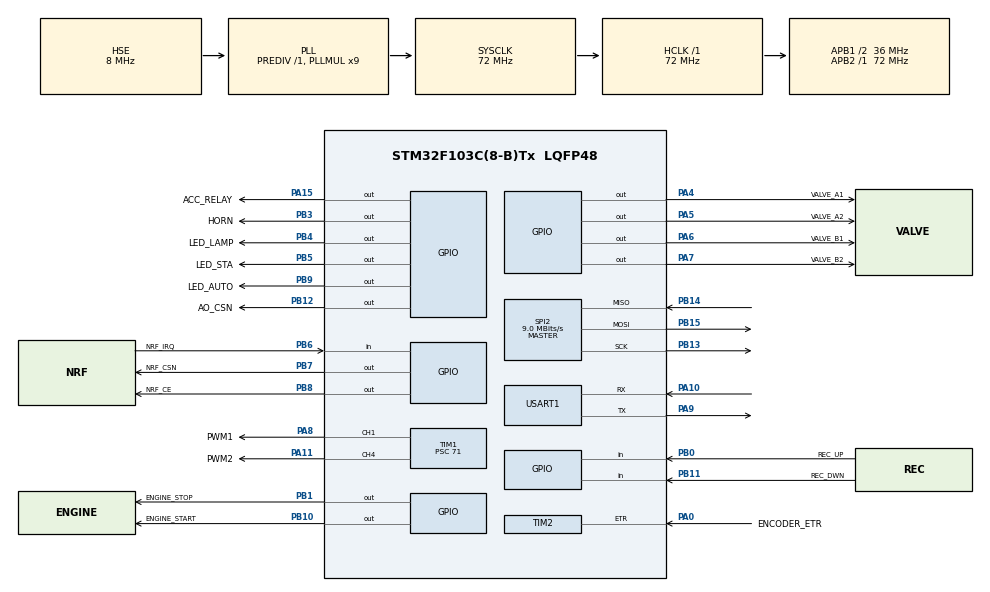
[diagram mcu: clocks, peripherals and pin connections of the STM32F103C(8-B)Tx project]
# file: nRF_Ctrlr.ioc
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Mcu.Family=STM32F1
Mcu.Name=STM32F103C(8-B)Tx
Mcu.Package=LQFP48
NVIC.PriorityGroup=NVIC_PRIORITYGROUP_4
PA0-WKUP.GPIO_Label=ENCODER_ETR
PA0-WKUP.GPIO_PuPd=GPIO_PULLUP
PA0-WKUP.Signal=S_TIM2_CH1_ETR
PA10.Mode=Asynchronous
PA10.Signal=USART1_RX
PA11.GPIO_Label=PWM2
PA11.GPIO_Speed=GPIO_SPEED_FREQ_HIGH
PA11.Signal=S_TIM1_CH4
PA13.Mode=Serial_Wire
PA13.Signal=SYS_JTMS-SWDIO
PA14.Mode=Serial_Wire
PA14.Signal=SYS_JTCK-SWCLK
PA15.GPIO_Label=ACC_RELAY
PA15.GPIO_Speed=GPIO_SPEED_FREQ_HIGH
PA15.PinState=GPIO_PIN_RESET
PA15.Signal=GPIO_Output
PA4.GPIO_Label=VALVE_A1
PA4.GPIO_Speed=GPIO_SPEED_FREQ_MEDIUM
PA4.PinState=GPIO_PIN_RESET
PA4.Signal=GPIO_Output
PA5.GPIO_Label=VALVE_A2
PA5.GPIO_Speed=GPIO_SPEED_FREQ_MEDIUM
PA5.PinState=GPIO_PIN_RESET
PA5.Signal=GPIO_Output
PA6.GPIO_Label=VALVE_B1
PA6.GPIO_Speed=GPIO_SPEED_FREQ_MEDIUM
PA6.PinState=GPIO_PIN_RESET
PA6.Signal=GPIO_Output
PA7.GPIO_Label=VALVE_B2
PA7.GPIO_Speed=GPIO_SPEED_FREQ_MEDIUM
PA7.PinState=GPIO_PIN_RESET
PA7.Signal=GPIO_Output
PA8.GPIO_Label=PWM1
PA8.GPIO_Speed=GPIO_SPEED_FREQ_HIGH
PA8.Signal=S_TIM1_CH1
PA9.Mode=Asynchronous
PA9.Signal=USART1_TX
PB0.GPIO_Label=REC_UP
PB0.GPIO_PuPd=GPIO_PULLUP
PB0.Signal=GPIO_Input
PB1.GPIO_Label=ENGINE_STOP
PB1.PinState=GPIO_PIN_RESET
PB1.Signal=GPIO_Output
PB10.GPIO_Label=ENGINE_START
PB10.PinState=GPIO_PIN_RESET
PB10.Signal=GPIO_Output
PB11.GPIO_Label=REC_DWN
PB11.GPIO_PuPd=GPIO_PULLUP
PB11.Signal=GPIO_Input
PB12.GPIO_Label=AO_CSN
PB12.GPIO_Speed=GPIO_SPEED_FREQ_HIGH
PB12.PinState=GPIO_PIN_SET
PB12.Signal=GPIO_Output
PB13.Mode=Full_Duplex_Master
PB13.Signal=SPI2_SCK
PB14.GPIO_PuPd=GPIO_PULLUP
PB14.Mode=Full_Duplex_Master
PB14.Signal=SPI2_MISO
PB15.Mode=Full_Duplex_Master
PB15.Signal=SPI2_MOSI
PB3.GPIO_Label=HORN
PB3.PinState=GPIO_PIN_RESET
PB3.Signal=GPIO_Output
PB4.GPIO_Label=LED_LAMP
PB4.PinState=GPIO_PIN_RESET
PB4.Signal=GPIO_Output
PB5.GPIO_Label=LED_STA
PB5.GPIO_Speed=GPIO_SPEED_FREQ_MEDIUM
PB5.PinState=GPIO_PIN_RESET
PB5.Signal=GPIO_Output
PB6.GPIO_Label=NRF_IRQ
PB6.GPIO_PuPd=GPIO_PULLUP
PB6.Signal=GPIO_Input
PB7.GPIO_Label=NRF_CSN
PB7.GPIO_Speed=GPIO_SPEED_FREQ_HIGH
PB7.PinState=GPIO_PIN_SET
PB7.Signal=GPIO_Output
PB8.GPIO_Label=NRF_CE
PB8.GPIO_Speed=GPIO_SPEED_FREQ_HIGH
PB8.PinState=GPIO_PIN_SET
PB8.Signal=GPIO_Output
PB9.GPIO_Label=LED_AUTO
PB9.GPIO_Speed=GPIO_SPEED_FREQ_MEDIUM
PB9.PinState=GPIO_PIN_RESET
PB9.Signal=GPIO_Output
PD0-OSC_IN.Mode=HSE-External-Oscillator
PD0-OSC_IN.Signal=RCC_OSC_IN
PD1-OSC_OUT.Mode=HSE-External-Oscillator
PD1-OSC_OUT.Signal=RCC_OSC_OUT
ProjectManager.HeapSize=0x800
ProjectManager.StackSize=0x800
ProjectManager.TargetToolchain=MDK-ARM V5
RCC.AHBFreq_Value=72000000
RCC.APB1CLKDivider=RCC_HCLK_DIV2
RCC.APB1Freq_Value=36000000
RCC.APB1TimFreq_Value=72000000
RCC.APB2Freq_Value=72000000
RCC.APB2TimFreq_Value=72000000
RCC.HCLKFreq_Value=72000000
RCC.PLLMUL=RCC_PLL_MUL9
RCC.PLLSourceVirtual=RCC_PLLSOURCE_HSE
RCC.SYSCLKFreq_VALUE=72000000
RCC.SYSCLKSource=RCC_SYSCLKSOURCE_PLLCLK
RCC.USBFreq_Value=72000000
SH.S_TIM1_CH1.0=TIM1_CH1,PWM Generation1 CH1
SH.S_TIM1_CH4.0=TIM1_CH4,PWM Generation4 CH4
SH.S_TIM2_CH1_ETR.0=TIM2_ETR,ClockSourceETR_Mode2
SPI2.BaudRatePrescaler=SPI_BAUDRATEPRESCALER_4
SPI2.CalculateBaudRate=9.0 MBits/s
SPI2.Direction=SPI_DIRECTION_2LINES
SPI2.Mode=SPI_MODE_MASTER
SPI2.VirtualType=VM_MASTER
TIM1.AutoReloadPreload=TIM_AUTORELOAD_PRELOAD_ENABLE
TIM1.Channel-PWM\ Generation1\ CH1=TIM_CHANNEL_1
TIM1.Channel-PWM\ Generation4\ CH4=TIM_CHANNEL_4
TIM1.Period=500
TIM1.Prescaler=71
TIM2.ClockFilter=4
TIM2.ClockPolarity=TIM_CLOCKPOLARITY_INVERTED
TIM2.Period=65535
USART1.VirtualMode=VM_ASYNC
VP_TIM1_VS_ClockSourceINT.Mode=Internal
board=nRF_Ctrlr

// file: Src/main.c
/**
  ******************************************************************************
  * @file           : main.c
  * @brief          : Main program body
  ******************************************************************************
  ** This notice applies to any and all portions of this file
  * that are not between comment pairs USER CODE BEGIN and
  * USER CODE END. Other portions of this file, whether
  * inserted by the user or by software development tools
  * are owned by their respective copyright owners.
  *
  * COPYRIGHT(c) 2018 STMicroelectronics
  *
  * Redistribution and use in source and binary forms, with or without modification,
  * are permitted provided that the following conditions are met:
  *   1. Redistributions of source code must retain the above copyright notice,
  *      this list of conditions and the following disclaimer.
  *   2. Redistributions in binary form must reproduce the above copyright notice,
  *      this list of conditions and the following disclaimer in the documentation
  *      and/or other materials provided with the distribution.
  *   3. Neither the name of STMicroelectronics nor the names of its contributors
  *      may be used to endorse or promote products derived from this software
  *      without specific prior written permission.
  *
  * THIS SOFTWARE IS PROVIDED BY THE COPYRIGHT HOLDERS AND CONTRIBUTORS "AS IS"
  * AND ANY EXPRESS OR IMPLIED WARRANTIES, INCLUDING, BUT NOT LIMITED TO, THE
  * IMPLIED WARRANTIES OF MERCHANTABILITY AND FITNESS FOR A PARTICULAR PURPOSE ARE
  * DISCLAIMED. IN NO EVENT SHALL THE COPYRIGHT HOLDER OR CONTRIBUTORS BE LIABLE
  * FOR ANY DIRECT, INDIRECT, INCIDENTAL, SPECIAL, EXEMPLARY, OR CONSEQUENTIAL
  * DAMAGES (INCLUDING, BUT NOT LIMITED TO, PROCUREMENT OF SUBSTITUTE GOODS OR
  * SERVICES; LOSS OF USE, DATA, OR PROFITS; OR BUSINESS INTERRUPTION) HOWEVER
  * CAUSED AND ON ANY THEORY OF LIABILITY, WHETHER IN CONTRACT, STRICT LIABILITY,
  * OR TORT (INCLUDING NEGLIGENCE OR OTHERWISE) ARISING IN ANY WAY OUT OF THE USE
  * OF THIS SOFTWARE, EVEN IF ADVISED OF THE POSSIBILITY OF SUCH DAMAGE.
  *
  ******************************************************************************
  */
#include "main.h"
#include "stm32f1xx_hal.h"
#include "spi.h"
#include "tim.h"
#include "usart.h"
#include "gpio.h"

/* USER CODE BEGIN Includes */
#include <stdlib.h>     // for abs()
#include <string.h>
#include "nrf24l01.h"
#include "controller.h"
/* USER CODE END Includes */

/* USER CODE BEGIN PV */
/* Private variables ---------------------------------------------------------*/
uint8_t     receive_value[6];           // 存放无线接收值
uint8_t     reset_flag = 1;             // 复位标志
uint8_t     REC_flag = 0;               // 学习标志
uint8_t     rcv_not_ok = 0;             // 无线接收失败标志
volatile u8_Bits_t  DIO_byte;           // 表示数字端口状态的字节
volatile uint8_t    r_index = 0;
uint8_t     up_len = 0, dwn_len = 0;    // 上升、下降学习记录长度

uint16_t    count=0;
uint16_t    trans_value = 0;            // 接收AD转换值
uint16_t    enc_current = 0;      // 缓存当前编码器值

run_state_t  ctrlr_State = S_Standby;
REC_data_t   up_rec[REC_LEN], dwn_rec[REC_LEN]; // 学习记录数组
volatile  LED_Status_t    LED_Status;   // 指示灯状态
volatile  error_status_t  s_error;
volatile  run_status_t    s_run;

/* USER CODE END PV */

void SystemClock_Config(void);

/* USER CODE BEGIN PFP */
/* Private function prototypes -----------------------------------------------*/
void LED_update(void);
/* USER CODE END PFP */

int main(void)
{

  /* MCU Configuration----------------------------------------------------------*/

  /* Reset of all peripherals, Initializes the Flash interface and the Systick. */
  HAL_Init();

  /* Configure the system clock */
  SystemClock_Config();

  /* Initialize all configured peripherals */
  MX_GPIO_Init();
  MX_SPI2_Init();
  MX_USART1_UART_Init();
  MX_TIM1_Init();
  MX_TIM2_Init();
  /* USER CODE BEGIN 2 */
  VALVE_A_Off();
  VALVE_B_Off();
  LED_LAMP_Off();
  LED_STA_Off();
  LED_AUTO_Off();
  HORN_Off();
  ACC_RELAY_Off();
  ENGINE_STOP_Reset();
  ENGINE_START_Reset();

  PWM_Init();
  check_nrf();
  HAL_TIM_Base_Start(&htim2);
  ENCODER_CNT_Set(0);
  reset_flag = 1;

  #if UART_DEBUG
  printf("\033[1;1H");
  printf("CTRLRSYS V1.0 (C) 2018       WANGFENG STUDIO\r\n");
  printf("~~~~~~~~~~~~~~~~~~~~~~~~~~~~~~~~~~~~~~~~~~~~\r\n");
  printf("nRF check and receive OK? ... CHK-XX  RCV-XX\r\n");
  printf("Record OK? ............ UP-XX  DN-XX  ALL-XX\r\n");
  printf("Switch initialize OK?.................... XX\r\n");
  printf("Received data............ DIO-0x00  ADC-0000\r\n");
  printf("System STATE ................... XXXXXXXXXXX\r\n");
  printf("____________________________________________\r\n");
  printf("index  adc     enc     enc_c     PWM   ACC  \r\n");
  printf("--------------------------------------------\r\n");
  printf("                                            \r\n");
  printf("____________________________________________\r\n");
  #endif

  /* USER CODE END 2 */

  /* Infinite loop */
  /* USER CODE BEGIN WHILE */
  while (1)
  {

   if(count==0)
    rcv_not_ok = rcv_nrf_data();     // 接收遥控器数据
   count++;
   if(count >= 20)
       count = 0;

    digit_state_update();            // 喇叭、照明、发动机启停
    enc_current = ENCODER_CNT_VALUE;

    // 若急停按钮触发或上电复位 进入急停状态
    if(Is_EMER() || reset_flag == 1){
        ctrlr_State = S_Emerg;
    }
/////////////////////////////////////////////////////////////////////////////////////////
            switch(ctrlr_State){
                //////// 急停模式 /////////////////
                case S_Emerg:
                    #if UART_DEBUG
                    printf(PRNT_P_STAT);
                    printf(PRNT_FL_STR," EMERGENCY ");
                    #endif
                    // 进入状态
                      s_error.is_emergency = 1;

                      TIM1->CCR1 = 0;   // PWM 输出0
                      TIM1->CCR4 = 0;

                      VALVE_A_Off();    // 关闭阀 A 与 B
                      VALVE_B_Off();

                      analog_state_update(0);

                      reset_flag = 0;

                    // 切换
                      if(rcv_not_ok ==1 ||
                         (DIO_byte.Byte_Val & 0x3F)!=0 ||
                         trans_value > MIN_VALID){

                          s_error.switch_init_fail = 1;
                        #if UART_DEBUG
                        printf(PRNT_P_SW);
                        printf(PRNT_RD_STR,"NG");
                        #endif
                      }
                      else{
                        s_error.switch_init_fail = 0;
                        s_error.is_emergency = 0;
                        #if UART_DEBUG
                        printf(PRNT_P_SW);
                        printf(PRNT_GR_STR,"OK");
                        #endif
                        ctrlr_State = S_Standby;
                        }
                    break;

                //////// 待机模式 /////////////////
                case S_Standby:
                    #if UART_DEBUG
                    printf(PRNT_P_STAT);
                    printf("  STANDBY  ");
                    #endif
                    // 进入状态
                    s_run.sys_autorun = 0;

                    analog_state_update(0);              // 关闭比例阀 AB阀 AO怠速
                    ENCODER_CNT_Set(0); // 编码器计数清零
                    r_index = 1;
                    // 判断比较上下学习结果 成功则 REC_flag |= 0x04
                    if(REC_flag == 0x03){
                        int16_t rslt = up_rec[up_len].enc_cnt - dwn_rec[dwn_len].enc_cnt;
                        if(abs(rslt) <= REC_POS_TLR){
                            REC_flag |= 0x24; // 置位学习成功标志，并禁止先自动下降
                            s_run.rec_success = 1;

                            #if UART_DEBUG
                            printf(PRNT_P_ALL);
                            printf(PRNT_GR_STR,"OK");
                            #endif
                        }
                        else if((REC_flag & 0x04)!=0x04){
                            REC_flag &= 0xFB;
                            s_run.rec_success = 0;

                            #if UART_DEBUG
                            printf(PRNT_P_ALL);
                            printf(PRNT_RD_STR,"NG");
                            #endif
                        }else
                        s_run.rec_success = 0;
                    }
                    // 切换
                    if(Is_HOPPER_UP() && !Is_AUTORUN()){
                        if(Is_REC_UP()){
                            memset(&up_rec,0,sizeof(REC_data_t)*REC_LEN);

                        }
                        ctrlr_State = S_Manual_Up;
                    }
                    else
                        if(Is_HOPPER_DOWN() && !Is_AUTORUN()){
                            if(Is_REC_DWN()){
                                memset(&dwn_rec,0,sizeof(REC_data_t)*REC_LEN);

                            }
                            ctrlr_State = S_Manual_Down;
                        }
                    else
                        if(Is_HOPPER_UP() && Is_AUTORUN() && (REC_flag&0x07) == 0x07 &&
                            (REC_flag & 0x10) == 0){
                                ctrlr_State = S_Auto_Up;
                                s_run.rec_success = 0; // 清除学习成功状态灯
                            }
                    else
                        if(Is_HOPPER_DOWN() && Is_AUTORUN() && (REC_flag&0x07) == 0x07 &&
                            (REC_flag & 0x20) == 0){
                                ctrlr_State = S_Auto_Down;
                                s_run.rec_success = 0; // 清除学习成功状态灯
                            }
                    break;
                /////// 手动上升 /////////////////
                case S_Manual_Up:
                    #if UART_DEBUG
                    printf(PRNT_P_STAT);
                    printf("MNUL-UP    ");
                    #endif
                    // 进入状态
                    s_run.sys_manual = 1;
                    if(Is_REC_UP()){
                        s_run.sys_under_rec = 1;
                        #if UART_DEBUG
                        printf(PRNT_P_REC);
                        printf("-REC");
                        #endif
                        int16_t i_rslt = enc_current- up_rec[r_index-1].enc_cnt; // 有符号
                        if(i_rslt >= REC_STEP){
                            up_rec[r_index].adc_data = trans_value;   // 记录给定值
                            up_rec[r_index].enc_cnt  = enc_current;       // 记录编码器值
                            r_index += 1;
                            if(r_index > REC_LEN) r_index = 0;
                        }
                        #if UART_DEBUG
                        printf(PRNT_P_IDX);
                        //printf("\033[nB");        光标下移n行
                        printf(" %03d   %04d    %05d   %05d",r_index,up_rec[r_index-1].adc_data,up_rec[r_index-1].enc_cnt,ENC_VAL);
                        #endif
                    }
                    else
                        s_run.sys_under_rec = 0;

                    analog_state_update(trans_value);
                    // 切换
                    if(!Is_HOPPER_UP()){
                        // 判断是否学习成功
                        if(r_index>=3 &&
                           up_rec[r_index].enc_cnt == 0 &&
                           up_rec[0].enc_cnt == 0 &&
                           rec_increment_check(up_rec, r_index-1) == 1){
                               up_rec[0].adc_data = (up_rec[1].adc_data < ADC_START_VAL) ? up_rec[1].adc_data : ADC_START_VAL;
                               up_rec[r_index-1].adc_data = (up_rec[r_index-2].adc_data < ADC_STOP_VAL) ? up_rec[r_index-2].adc_data : ADC_STOP_VAL;
                               up_rec[r_index].adc_data = up_rec[r_index-1].adc_data;
                               up_rec[r_index].enc_cnt = ENC_VAL;
                               up_len = r_index;
                               REC_flag |= 0x01;

                               #if UART_DEBUG
                               printf(PRNT_P_UP);
                               printf(PRNT_GR_STR,"OK");
                               #endif
                          }else{
                            REC_flag &= 0xFE;

                            #if UART_DEBUG
                            printf(PRNT_P_UP);
                            printf(PRNT_RD_STR,"NG");
                            #endif
                        }
                        VALVE_A_Off();
                        ctrlr_State = S_Standby;
                        s_run.sys_manual = 0;
                    }
                    break;
                /////// 手动下降 /////////////////
                case S_Manual_Down:
                    #if UART_DEBUG
                    printf(PRNT_P_STAT);
                    printf("MNUL-DN    ");
                    #endif
                    // 进入状态
                    s_run.sys_manual = 1;
                    if(Is_REC_DWN()){
                        s_run.sys_under_rec = 1;
                        #if UART_DEBUG
                        printf(PRNT_P_REC);
                        printf("-REC");
                        #endif
                        int16_t i_rslt = enc_current- dwn_rec[r_index-1].enc_cnt; // 有符号
                        if(i_rslt >= REC_STEP){
                            dwn_rec[r_index].adc_data = trans_value;   // 记录给定值
                            dwn_rec[r_index].enc_cnt  = enc_current;       // 记录编码器值
                            r_index += 1;
                            if(r_index > REC_LEN) r_index = 0;
                        }
                        #if UART_DEBUG
                        printf(PRNT_P_IDX);
                        //printf("\033[nB");        光标下移n行
                        printf(" %03d   %04d    %05d   %05d",r_index,dwn_rec[r_index-1].adc_data,dwn_rec[r_index-1].enc_cnt,ENC_VAL);
                        #endif
                    }
                    else
                        s_run.sys_under_rec = 0;

                    analog_state_update(trans_value);

                    // 切换
                    if(!Is_HOPPER_DOWN()){
                        // 判断是否学习成功
                        if(r_index>=3 &&
                           dwn_rec[r_index].enc_cnt == 0 &&
                           dwn_rec[0].enc_cnt == 0 &&
                           rec_increment_check(dwn_rec, r_index-1) == 1){
                               dwn_rec[0].adc_data = (dwn_rec[1].adc_data < ADC_START_VAL) ? dwn_rec[1].adc_data : ADC_START_VAL;
                               dwn_rec[r_index-1].adc_data = (dwn_rec[r_index-2].adc_data < ADC_STOP_VAL) ? dwn_rec[r_index-2].adc_data : ADC_STOP_VAL;
                               dwn_rec[r_index].adc_data = dwn_rec[r_index-1].adc_data;
                               dwn_rec[r_index].enc_cnt = ENC_VAL;
                               dwn_len = r_index;
                               REC_flag |= 0x02;
                               #if UART_DEBUG
                               printf(PRNT_P_DN);
                               printf(PRNT_GR_STR,"OK");
                               #endif
                          }else{
                            REC_flag &= 0xFD;

                            #if UART_DEBUG
                            printf(PRNT_P_DN);
                            printf(PRNT_RD_STR,"NG");
                            #endif
                        }
                        VALVE_B_Off();
                        ctrlr_State = S_Standby;
                        s_run.sys_manual = 0;
                    }
                    break;
                /////// 自动上升 /////////////////
                case S_Auto_Up:
                    #if UART_DEBUG
                    printf(PRNT_P_STAT);
                    printf("  AUTO-UP  ");
                    #endif
                    // 进入状态
                    s_run.sys_autorun = 1;
                    if(enc_current >= up_rec[r_index-1].enc_cnt &&
                       enc_current <  up_rec[r_index].enc_cnt){

                        int16_t delta_ana = up_rec[r_index].adc_data - up_rec[r_index-1].adc_data;
                        int16_t delta_enc = up_rec[r_index].enc_cnt - up_rec[r_index-1].enc_cnt;
                        uint16_t ana_rslt = (enc_current-up_rec[r_index].enc_cnt)*delta_ana/delta_enc + up_rec[r_index-1].adc_data;
                        analog_state_update(ana_rslt);

                        #if UART_DEBUG
                        printf(PRNT_P_IDX);
                        printf(" %03d   %04d    %05d   %05d", r_index, ana_rslt, enc_current, ENC_VAL);
                        #endif

                        if(r_index<REC_LEN && r_index<up_len)
                            r_index++;
                    }

                    // 停止
                    if(enc_current >= up_rec[up_len].enc_cnt  ||
                       r_index > up_len){

                        analog_state_update(0);
                    }
                    // 切换
                    if(!Is_HOPPER_UP() || !Is_AUTORUN()){

                        REC_flag |= 0x10;
                        REC_flag &= 0xDF;
                        s_run.sys_autorun = 0;
                        VALVE_A_Off();
                        ctrlr_State = S_Standby;
                    }
                    break;
                /////// 自动下降 /////////////////
                case S_Auto_Down:
                    #if UART_DEBUG
                    printf(PRNT_P_STAT);
                    printf("  AUTO-DN  ");
                    #endif
                    // 进入状态
                    s_run.sys_autorun = 1;
                    if(enc_current >= dwn_rec[r_index-1].enc_cnt &&
                       enc_current <  dwn_rec[r_index].enc_cnt){

                        int16_t delta_ana = dwn_rec[r_index].adc_data - dwn_rec[r_index-1].adc_data;
                        int16_t delta_enc = dwn_rec[r_index].enc_cnt - dwn_rec[r_index-1].enc_cnt;
                        uint16_t ana_rslt = (enc_current-dwn_rec[r_index].enc_cnt)*delta_ana/delta_enc + dwn_rec[r_index-1].adc_data;
                        analog_state_update(ana_rslt);

                        #if UART_DEBUG
                        printf(PRNT_P_IDX);
                        printf(" %03d   %04d    %05d   %05d", r_index, ana_rslt, enc_current, ENC_VAL);
                        #endif

                        if(r_index<REC_LEN && r_index<dwn_len)
                            r_index++;
                    }

                    // 停止

                    if(enc_current >= dwn_rec[dwn_len].enc_cnt||
                       r_index > dwn_len ){

                       analog_state_update(0);
                    }
                    // 切换
                    if(!Is_HOPPER_DOWN() || !Is_AUTORUN()){

                        REC_flag |= 0x20;
                        REC_flag &= 0xEF;
                        s_run.sys_autorun = 0;
                        VALVE_B_Off();
                        ctrlr_State = S_Standby;
                    }
                    break;
                /////// 运行错误 /////////////////
                default:
                    #if UART_DEBUG
                    printf(PRNT_P_STAT);
                    printf("            ERROR");
                    #endif
                    ctrlr_State = S_Standby;
                    break;
            }
/////////////////////////////////////////////////////////////////////////////////////////

  /* USER CODE END WHILE */

  }

}

void SystemClock_Config(void)
{

  RCC_OscInitTypeDef RCC_OscInitStruct;
  RCC_ClkInitTypeDef RCC_ClkInitStruct;

    /**Initializes the CPU, AHB and APB busses clocks
    */
  RCC_OscInitStruct.OscillatorType = RCC_OSCILLATORTYPE_HSE;
  RCC_OscInitStruct.HSEState = RCC_HSE_ON;
  RCC_OscInitStruct.HSEPredivValue = RCC_HSE_PREDIV_DIV1;
  RCC_OscInitStruct.HSIState = RCC_HSI_ON;
  RCC_OscInitStruct.PLL.PLLState = RCC_PLL_ON;
  RCC_OscInitStruct.PLL.PLLSource = RCC_PLLSOURCE_HSE;
  RCC_OscInitStruct.PLL.PLLMUL = RCC_PLL_MUL9;
  if (HAL_RCC_OscConfig(&RCC_OscInitStruct) != HAL_OK)
  {
    _Error_Handler(__FILE__, __LINE__);
  }

    /**Initializes the CPU, AHB and APB busses clocks
    */
  RCC_ClkInitStruct.ClockType = RCC_CLOCKTYPE_HCLK|RCC_CLOCKTYPE_SYSCLK
                              |RCC_CLOCKTYPE_PCLK1|RCC_CLOCKTYPE_PCLK2;
  RCC_ClkInitStruct.SYSCLKSource = RCC_SYSCLKSOURCE_PLLCLK;
  RCC_ClkInitStruct.AHBCLKDivider = RCC_SYSCLK_DIV1;
  RCC_ClkInitStruct.APB1CLKDivider = RCC_HCLK_DIV2;
  RCC_ClkInitStruct.APB2CLKDivider = RCC_HCLK_DIV1;

  if (HAL_RCC_ClockConfig(&RCC_ClkInitStruct, FLASH_LATENCY_2) != HAL_OK)
  {
    _Error_Handler(__FILE__, __LINE__);
  }

    /**Configure the Systick interrupt time
    */
  HAL_SYSTICK_Config(HAL_RCC_GetHCLKFreq()/1000);

    /**Configure the Systick
    */
  HAL_SYSTICK_CLKSourceConfig(SYSTICK_CLKSOURCE_HCLK);

  /* SysTick_IRQn interrupt configuration */
  HAL_NVIC_SetPriority(SysTick_IRQn, 0, 0);
}

/* USER CODE BEGIN 4 */
// LED 状态更新
void LED_update(void){
   /* LED 闪烁位 bits (借鉴自 CANopenNode V1.1)*/
   static uint16_t    tLEDflicker=0;
   static uint16_t    tLEDflash=0;
   //
   if   (++tLEDflicker == 10)    LED_Status.Flickering = LED_ON;
   else if(tLEDflicker >= 20){  LED_Status.Flickering = LED_OFF; tLEDflicker = 0;}
   //
   if   (++tLEDflash == 90)     LED_Status.SingleFlash = LED_ON;
   else if(tLEDflash >= 100){    LED_Status.SingleFlash = LED_OFF; tLEDflash = 0;}

   // 连接状态、故障指示灯
   if(s_error.nrf_not_exist==1 || s_error.is_emergency==1)
       LED_RD_Turn(LED_Status.Flickering);
   else if(s_error.switch_init_fail==1)
       LED_RD_Turn(LED_Status.Off);
//   else if(s_error.nrf_rcv_fail==1 )
//       LED_RD_Turn(LED_Status.Off);
   else
       LED_RD_Turn(LED_Status.SingleFlash);

    // 学习/自动运行指示灯
    if(s_run.sys_autorun==1)
        LED_GR_Turn(LED_Status.Flickering);
    else if(s_run.rec_success==1)
        LED_GR_Turn(LED_Status.On);
    else if(s_run.sys_under_rec==1)
        LED_GR_Turn(LED_Status.SingleFlash);
    //else if(s_run.sys_manual==1)
    //  LED_GR_Turn(LED_Status.SingleFlash);
    else
        LED_GR_Turn(LED_Status.Off);
}
/* USER CODE END 4 */

void _Error_Handler(char *file, int line)
{
  while(1)
  {
  }
}

/************************ (C) COPYRIGHT STMicroelectronics *****END OF FILE****/
